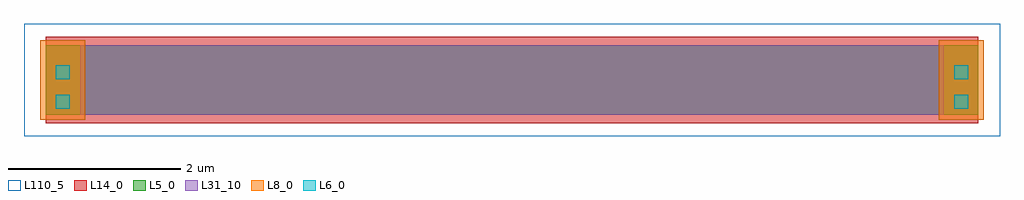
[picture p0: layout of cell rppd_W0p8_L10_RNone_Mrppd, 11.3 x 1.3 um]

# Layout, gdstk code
import gdstk
lib = gdstk.Library(unit=1e-6, precision=1e-09)
def R(c, l, rs):  # rectangles x0, y0, x1, y1
    for r in rs: c.add(gdstk.rectangle(r[:2], r[2:], *l))
L5_0 = (5, 0)
L6_0 = (6, 0)
L8_0 = (8, 0)
L14_0 = (14, 0)
L31_10 = (31, 10)
L110_5 = (110, 5)

rectangle_gdsfactorypcom = lib.new_cell('rectangle_gdsfactorypcomponentspshapesprectangle_S10_0p_ba5ff4a0')
R(rectangle_gdsfactorypcom, L5_0, [(-5,-0.4,5,0.4)])

c_rectangle_gdsfactorypcom = lib.new_cell('rectangle_gdsfactorypcomponentspshapesprectangle_S10p8__fa7b0dfc')
R(c_rectangle_gdsfactorypcom, L14_0, [(-5.4,-0.5,5.4,0.5)])

c_rectangle_gdsfactorypcom_ = lib.new_cell('rectangle_gdsfactorypcomponentspshapesprectangle_S10_0p_5cca1fde')
R(c_rectangle_gdsfactorypcom_, L31_10, [(-5,-0.4,5,0.4)])

c_rectangle_gdsfactorypcom__ = lib.new_cell('rectangle_gdsfactorypcomponentspshapesprectangle_S0p4_0_e53f5aeb')
R(c_rectangle_gdsfactorypcom__, L5_0, [(0,0,0.4,0.8)])

c_rectangle_gdsfactorypcom___ = lib.new_cell('rectangle_gdsfactorypcomponentspshapesprectangle_S0p16__69e6ae0d')
R(c_rectangle_gdsfactorypcom___, L6_0, [(0,0,0.16,0.16)])

c_rectangle_gdsfactorypcom____ = lib.new_cell('rectangle_gdsfactorypcomponentspshapesprectangle_S0p52__128d8a6d')
R(c_rectangle_gdsfactorypcom____, L8_0, [(0,0,0.52,0.92)])

c_rectangle_gdsfactorypcom_____ = lib.new_cell('rectangle_gdsfactorypcomponentspshapesprectangle_S11p3__f2486ad7')
R(c_rectangle_gdsfactorypcom_____, L110_5, [(-5.65,-0.65,5.65,0.65)])

rppd_w0p8_l10_rnone_mrpp = lib.new_cell('rppd_W0p8_L10_RNone_Mrppd')
rppd_w0p8_l10_rnone_mrpp.add(gdstk.Reference(rectangle_gdsfactorypcom, (0,0)))
rppd_w0p8_l10_rnone_mrpp.add(gdstk.Reference(c_rectangle_gdsfactorypcom, (0,0)))
rppd_w0p8_l10_rnone_mrpp.add(gdstk.Reference(c_rectangle_gdsfactorypcom_, (0,0)))
rppd_w0p8_l10_rnone_mrpp.add(gdstk.Reference(c_rectangle_gdsfactorypcom__, (-5.4,-0.4)))
rppd_w0p8_l10_rnone_mrpp.add(gdstk.Reference(c_rectangle_gdsfactorypcom__, (5,-0.4)))
rppd_w0p8_l10_rnone_mrpp.add(gdstk.Reference(c_rectangle_gdsfactorypcom___, (-5.28,-0.33)))
rppd_w0p8_l10_rnone_mrpp.add(gdstk.Reference(c_rectangle_gdsfactorypcom___, (5.12,-0.33)))
rppd_w0p8_l10_rnone_mrpp.add(gdstk.Reference(c_rectangle_gdsfactorypcom___, (-5.28,0.01)))
rppd_w0p8_l10_rnone_mrpp.add(gdstk.Reference(c_rectangle_gdsfactorypcom___, (5.12,0.01)))
rppd_w0p8_l10_rnone_mrpp.add(gdstk.Reference(c_rectangle_gdsfactorypcom____, (-5.46,-0.46)))
rppd_w0p8_l10_rnone_mrpp.add(gdstk.Reference(c_rectangle_gdsfactorypcom____, (4.94,-0.46)))
rppd_w0p8_l10_rnone_mrpp.add(gdstk.Reference(c_rectangle_gdsfactorypcom_____, (0,0)))

lib.write_gds('rppd_W0p8_L10_RNone_Mrppd.gds')
